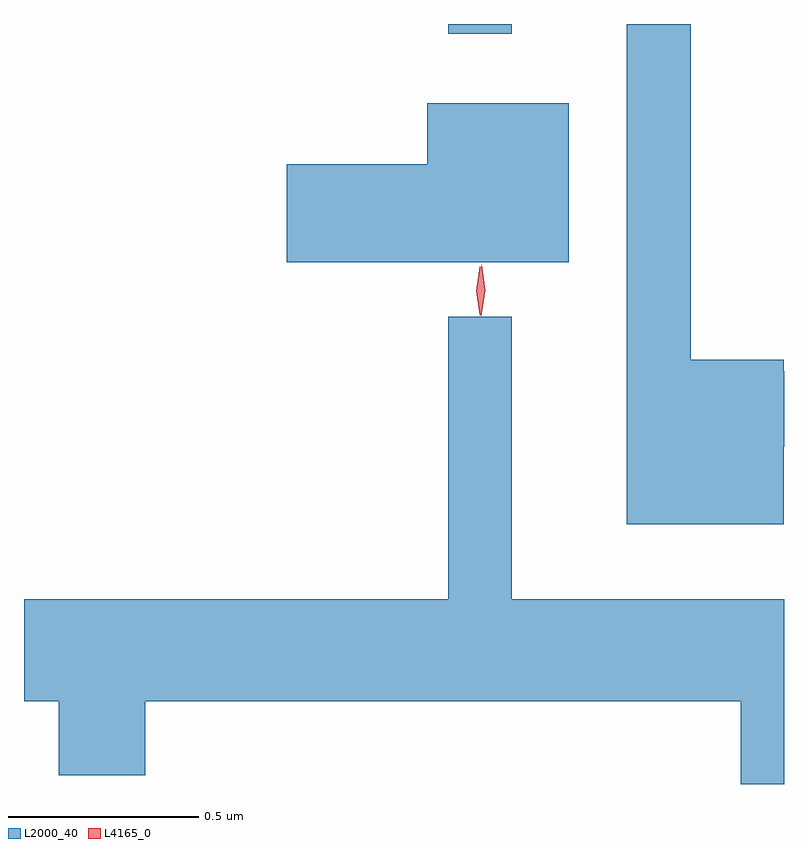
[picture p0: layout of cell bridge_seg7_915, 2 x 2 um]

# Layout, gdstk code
import gdstk
lib = gdstk.Library(unit=1e-6, precision=1e-09)
def R(c, l, rs):  # rectangles x0, y0, x1, y1
    for r in rs: c.add(gdstk.rectangle(r[:2], r[2:], *l))
def P(c, l, *ps):  # polygons
    for p in ps: c.add(gdstk.Polygon(p, *l))
L2000_40 = (2000, 40)
L4165_0 = (4165, 0)

bridge_seg7_915 = lib.new_cell('bridge_seg7_915')
R(bridge_seg7_915, L2000_40, [(278.621,1720.513,278.789,1720.538)])
P(bridge_seg7_915, L2000_40, [(279.504,1719.426),(279.505,1719.426),(279.505,1719.624),(279.504,1719.624),(279.504,1719.654),(279.259,1719.654),(279.259,1720.538),(279.091,1720.538),(279.091,1719.221),(279.504,1719.221)],
  [(278.939,1720.329),(278.566,1720.329),(278.566,1720.169),(278.196,1720.169),(278.196,1719.911),(278.939,1719.911)],
  [(279.505,1719.024),(278.789,1719.024),(278.789,1719.768),(278.621,1719.768),(278.621,1719.024),(277.505,1719.024),(277.505,1718.756),(277.596,1718.756),(277.596,1718.561),(277.824,1718.561),(277.824,1718.756),(279.391,1718.756),(279.391,1718.538),(279.505,1718.538)])
P(bridge_seg7_915, L4165_0, [(278.704,1719.773),(278.695,1719.836),(278.704,1719.899),(278.705,1719.9),(278.706,1719.899),(278.715,1719.836),(278.706,1719.773),(278.705,1719.773)],
  [(278.707,1719.77),(278.699,1719.838),(278.709,1719.905),(278.709,1719.906),(278.71,1719.905),(278.719,1719.838),(278.708,1719.77),(278.708,1719.77)])

lib.write_gds('bridge_seg7_915.gds')
